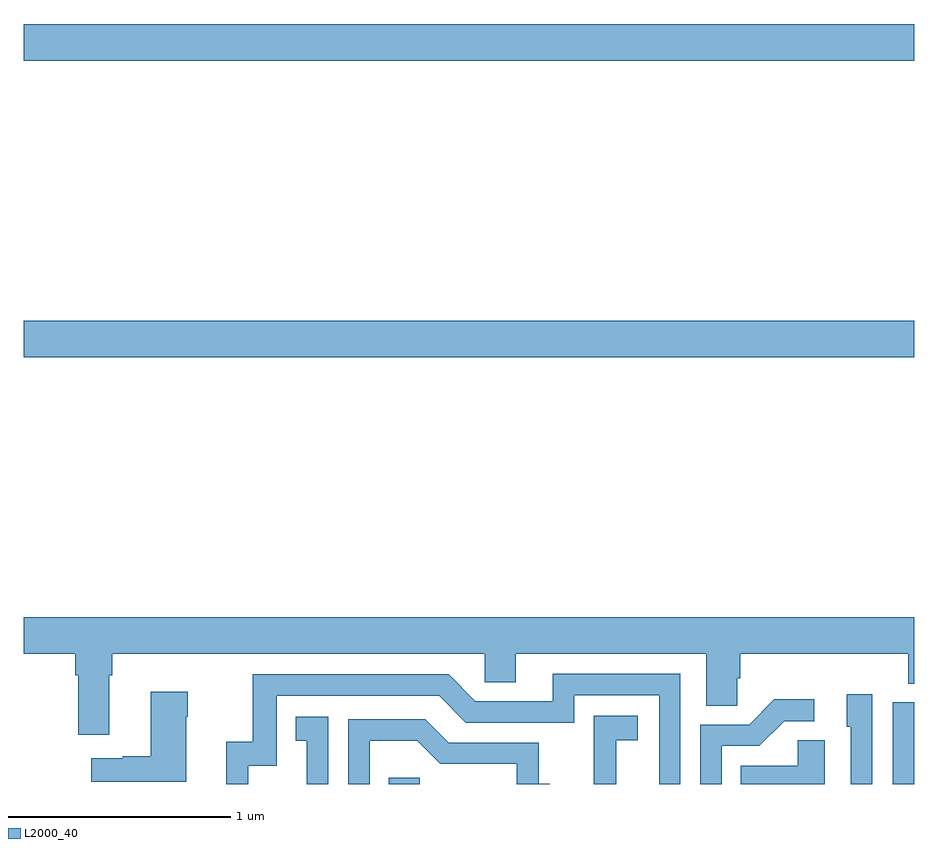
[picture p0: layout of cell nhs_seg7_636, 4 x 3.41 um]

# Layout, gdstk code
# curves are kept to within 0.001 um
import gdstk
lib = gdstk.Library(unit=1e-6, precision=1e-09)
def R(c, l, rs):  # rectangles x0, y0, x1, y1
    for r in rs: c.add(gdstk.rectangle(r[:2], r[2:], *l))
def P(c, l, *ps):  # polygons
    for p in ps: c.add(gdstk.Polygon(p, *l))
L2000_40 = (2000, 40)

nhs_seg7_636 = lib.new_cell('nhs_seg7_636')
R(nhs_seg7_636, L2000_40, [(160.639,1032,160.779,1032.027), (159,1033.916,163,1034.08), (159,1035.248,163,1035.412)])
P(nhs_seg7_636, L2000_40, [(159.385,1032.488),(159.398,1032.488),(159.398,1032.584),(161.07,1032.584),(161.07,1032.457),(161.209,1032.457),(161.209,1032.584),(162.065,1032.584),(162.065,1032.352),(162.204,1032.352),(162.204,1032.475),(162.218,1032.475),(162.218,1032.584),(162.971,1032.584),(162.971,1032.451),(163,1032.451),(163,1032.748),(159,1032.748),(159,1032.584),(159.233,1032.584),(159.233,1032.488),(159.245,1032.488),(159.245,1032.222),(159.385,1032.222)],
  [(160.008,1032.081),(160.137,1032.081),(160.137,1032.396),(160.866,1032.396),(160.986,1032.276),(161.472,1032.276),(161.472,1032.399),(161.853,1032.399),(161.853,1032),(161.949,1032),(161.949,1032.495),(161.375,1032.495),(161.375,1032.372),(161.028,1032.372),(160.908,1032.492),(160.029,1032.492),(160.029,1032.19),(159.911,1032.19),(159.911,1032),(160.008,1032)],
  [(159.73,1032.302),(159.738,1032.302),(159.738,1032.415),(159.572,1032.415),(159.572,1032.125),(159.446,1032.125),(159.446,1032.115),(159.303,1032.115),(159.303,1032.011),(159.73,1032.011)],
  [(162.81,1032.403),(162.695,1032.403),(162.695,1032.258),(162.714,1032.258),(162.714,1032),(162.81,1032)],
  [(162.135,1032.171),(162.304,1032.171),(162.415,1032.282),(162.55,1032.282),(162.55,1032.38),(162.371,1032.38),(162.258,1032.267),(162.039,1032.267),(162.039,1032),(162.135,1032)],
  [(162.999,1032.27),(163,1032.27),(163,1032.366),(162.903,1032.366),(162.903,1032),(162.999,1032)],
  [(161.66,1032.197),(161.758,1032.197),(161.758,1032.307),(161.56,1032.307),(161.56,1032.101),(161.561,1032.101),(161.561,1032),(161.66,1032)],
  [(160.368,1032.301),(160.222,1032.301),(160.222,1032.195),(160.271,1032.195),(160.271,1032),(160.368,1032)],
  [(160.554,1032.194),(160.768,1032.194),(160.872,1032.09),(161.214,1032.09),(161.214,1032),(161.362,1032),(161.313,1032.001),(161.313,1032.186),(160.909,1032.186),(160.804,1032.291),(160.458,1032.291),(160.458,1032),(160.554,1032)],
  [(162.598,1032.197),(162.477,1032.197),(162.477,1032.082),(162.22,1032.082),(162.22,1032),(162.598,1032)])

lib.write_gds('nhs_seg7_636.gds')
